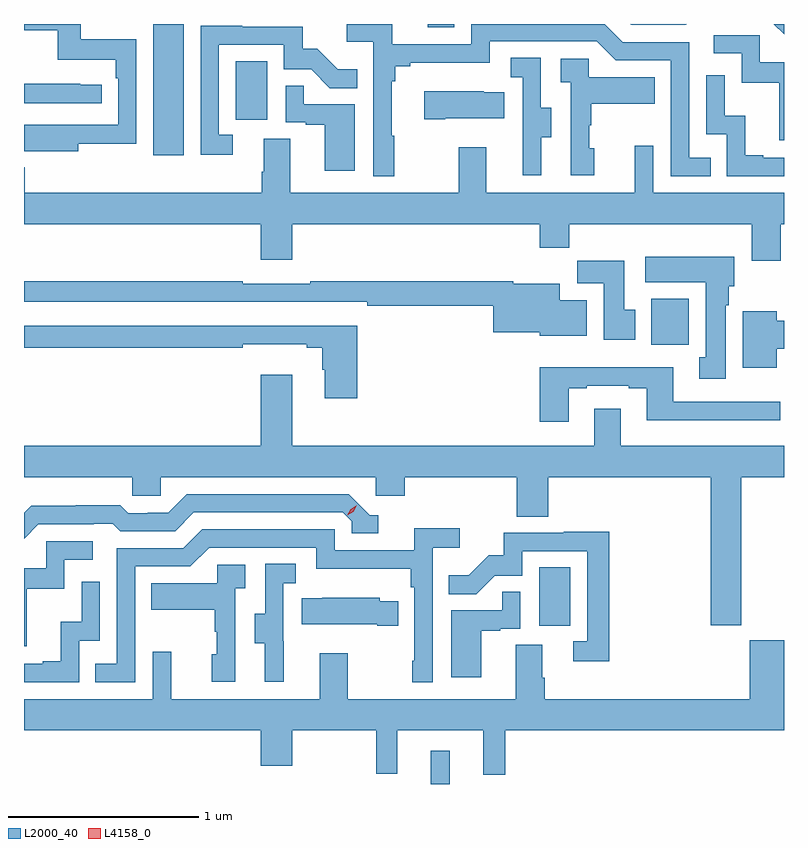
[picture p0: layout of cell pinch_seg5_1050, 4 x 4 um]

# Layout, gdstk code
import gdstk
lib = gdstk.Library(unit=1e-6, precision=1e-09)
def R(c, l, rs):  # rectangles x0, y0, x1, y1
    for r in rs: c.add(gdstk.rectangle(r[:2], r[2:], *l))
def P(c, l, *ps):  # polygons
    for p in ps: c.add(gdstk.Polygon(p, *l))
L2000_40 = (2000, 40)
L4158_0 = (4158, 0)

pinch_seg5_1050 = lib.new_cell('pinch_seg5_1050')
R(pinch_seg5_1050, L2000_40, [(837.23,864.469,837.329,864.643), (837.8,865.302,837.964,865.609), (838.391,866.78,838.588,867.022), (835.769,867.777,835.93,868.469), (836.204,867.966,836.368,868.273), (837.215,868.452,837.354,868.469)])
P(pinch_seg5_1050, L2000_40, [(835.375,867.838),(835.68,867.838),(835.68,868.39),(835.387,868.39),(835.387,868.469),(835.089,868.469),(835.089,868.435),(835.266,868.435),(835.266,868.28),(835.571,868.28),(835.571,868.184),(835.584,868.184),(835.584,867.939),(835.271,867.939),(835.271,867.94),(835.089,867.94),(835.089,867.8),(835.375,867.8)],
  [(839.089,868.469),(839.035,868.469),(839.089,868.415)],
  [(838.578,868.469),(838.279,868.469),(838.284,868.464),(838.573,868.464)],
  [(837.037,867.881),(837.025,867.881),(837.025,868.169),(837.044,868.169),(837.044,868.246),(837.121,868.246),(837.121,868.265),(837.54,868.265),(837.54,868.377),(838.104,868.377),(838.203,868.278),(838.494,868.278),(838.494,867.669),(838.703,867.669),(838.703,867.765),(838.59,867.765),(838.59,868.374),(838.24,868.374),(838.145,868.469),(837.444,868.469),(837.444,868.362),(837.026,868.362),(837.026,868.469),(836.787,868.469),(836.787,868.376),(836.928,868.376),(836.928,867.669),(837.037,867.669)],
  [(836.188,867.885),(836.115,867.885),(836.115,868.359),(836.457,868.359),(836.457,868.23),(836.601,868.23),(836.699,868.132),(836.843,868.132),(836.843,868.231),(836.739,868.231),(836.632,868.338),(836.556,868.338),(836.556,868.455),(836.237,868.455),(836.237,868.46),(836.019,868.46),(836.019,867.78),(836.188,867.78)],
  [(839.089,868.269),(838.962,868.269),(838.962,868.41),(838.719,868.41),(838.719,868.314),(838.866,868.314),(838.866,868.161),(839.065,868.161),(839.065,867.858),(839.089,867.858)],
  [(837.811,867.874),(837.865,867.874),(837.865,868.029),(837.81,868.029),(837.81,868.292),(837.651,868.292),(837.651,868.189),(837.714,868.189),(837.714,867.885),(837.713,867.885),(837.713,867.672),(837.811,867.672)],
  [(838.09,867.816),(838.065,867.816),(838.065,867.935),(838.075,867.935),(838.075,868.049),(838.409,868.049),(838.409,868.189),(838.062,868.189),(838.062,868.287),(837.915,868.287),(837.915,868.163),(837.966,868.163),(837.966,867.672),(838.09,867.672)],
  [(839.089,867.765),(838.981,867.765),(838.981,867.778),(838.886,867.778),(838.886,867.986),(838.776,867.986),(838.776,868.198),(838.68,868.198),(838.68,867.888),(838.788,867.888),(838.788,867.669),(839.089,867.669)],
  [(835.498,868.149),(835.385,868.149),(835.385,868.154),(835.089,868.154),(835.089,868.053),(835.498,868.053)],
  [(836.83,868.047),(836.561,868.047),(836.561,868.145),(836.466,868.145),(836.466,867.951),(836.573,867.951),(836.573,867.939),(836.672,867.939),(836.672,867.696),(836.83,867.696)],
  [(837.307,867.974),(837.617,867.974),(837.617,868.111),(837.509,868.111),(837.509,868.114),(837.195,868.114),(837.195,867.967),(837.307,867.967)],
  [(839.072,867.416),(839.089,867.416),(839.089,867.58),(838.401,867.58),(838.401,867.829),(838.304,867.829),(838.304,867.58),(837.523,867.58),(837.523,867.82),(837.376,867.82),(837.376,867.58),(836.491,867.58),(836.491,867.866),(836.351,867.866),(836.351,867.692),(836.339,867.692),(836.339,867.58),(835.094,867.58),(835.094,867.715),(835.089,867.715),(835.089,867.416),(836.336,867.416),(836.336,867.228),(836.5,867.228),(836.5,867.416),(837.803,867.416),(837.803,867.292),(837.959,867.292),(837.959,867.416),(838.919,867.416),(838.919,867.222),(839.072,867.222)],
  [(838.783,866.99),(838.798,866.99),(838.798,867.09),(838.828,867.09),(838.828,867.244),(838.359,867.244),(838.359,867.11),(838.676,867.11),(838.676,866.714),(838.643,866.714),(838.643,866.601),(838.783,866.601)],
  [(838.306,866.964),(838.249,866.964),(838.249,867.223),(838,867.223),(838,867.104),(838.139,867.104),(838.139,866.808),(838.306,866.808)],
  [(838.051,867.016),(837.91,867.016),(837.91,867.103),(837.664,867.103),(837.664,867.115),(836.596,867.115),(836.596,867.102),(836.24,867.102),(836.24,867.115),(835.089,867.115),(835.089,867.006),(836.896,867.006),(836.896,866.986),(837.56,866.986),(837.56,866.846),(837.804,866.846),(837.804,866.828),(838.051,866.828)],
  [(839.05,866.759),(839.089,866.759),(839.089,866.906),(839.05,866.906),(839.05,866.956),(838.871,866.956),(838.871,866.66),(839.05,866.66)],
  [(836.843,866.88),(835.089,866.88),(835.089,866.764),(836.24,866.764),(836.24,866.783),(836.576,866.783),(836.576,866.764),(836.66,866.764),(836.66,866.649),(836.672,866.649),(836.672,866.499),(836.843,866.499)],
  [(837.955,866.553),(838.051,866.553),(838.051,866.565),(838.271,866.565),(838.271,866.553),(838.367,866.553),(838.367,866.384),(839.068,866.384),(839.068,866.481),(838.507,866.481),(838.507,866.662),(837.803,866.662),(837.803,866.376),(837.955,866.376)],
  [(838.863,866.084),(839.089,866.084),(839.089,866.248),(838.231,866.248),(838.231,866.443),(838.091,866.443),(838.091,866.248),(836.5,866.248),(836.5,866.623),(836.336,866.623),(836.336,866.248),(835.089,866.248),(835.089,866.084),(835.659,866.084),(835.659,865.986),(835.809,865.986),(835.809,866.084),(836.94,866.084),(836.94,865.986),(837.092,865.986),(837.092,866.084),(837.683,866.084),(837.683,865.876),(837.848,865.876),(837.848,866.084),(838.703,866.084),(838.703,865.305),(838.863,865.305)],
  [(835.164,865.836),(835.457,865.836),(835.457,865.839),(835.556,865.839),(835.595,865.8),(835.884,865.8),(835.983,865.899),(836.766,865.899),(836.814,865.851),(836.814,865.788),(836.953,865.788),(836.953,865.884),(836.91,865.884),(836.799,865.995),(835.946,865.995),(835.847,865.896),(835.74,865.896),(835.74,865.893),(835.637,865.893),(835.595,865.936),(835.362,865.936),(835.362,865.933),(835.126,865.933),(835.089,865.896),(835.089,865.761)],
  [(835.674,865.614),(835.965,865.614),(836.064,865.713),(836.628,865.713),(836.628,865.601),(837.124,865.601),(837.124,865.505),(837.144,865.505),(837.144,865.117),(837.132,865.117),(837.132,865.005),(837.24,865.005),(837.24,865.712),(837.382,865.712),(837.382,865.814),(837.143,865.814),(837.143,865.698),(836.724,865.698),(836.724,865.809),(836.027,865.809),(835.928,865.71),(835.578,865.71),(835.578,865.101),(835.465,865.101),(835.465,865.005),(835.674,865.005)],
  [(838.169,865.796),(837.931,865.796),(837.931,865.791),(837.613,865.791),(837.613,865.674),(837.536,865.674),(837.429,865.567),(837.325,865.567),(837.325,865.468),(837.469,865.468),(837.567,865.566),(837.711,865.566),(837.711,865.695),(838.053,865.695),(838.053,865.221),(837.981,865.221),(837.981,865.116),(838.169,865.116)],
  [(835.103,865.497),(835.302,865.497),(835.302,865.65),(835.45,865.65),(835.45,865.746),(835.206,865.746),(835.206,865.605),(835.089,865.605),(835.089,865.194),(835.103,865.194)],
  [(836.456,865.221),(836.454,865.221),(836.454,865.525),(836.518,865.525),(836.518,865.628),(836.358,865.628),(836.358,865.365),(836.303,865.365),(836.303,865.21),(836.357,865.21),(836.357,865.008),(836.456,865.008)],
  [(836.202,865.499),(836.254,865.499),(836.254,865.623),(836.106,865.623),(836.106,865.525),(835.759,865.525),(835.759,865.385),(836.094,865.385),(836.094,865.271),(836.104,865.271),(836.104,865.152),(836.078,865.152),(836.078,865.008),(836.202,865.008)],
  [(835.38,865.224),(835.488,865.224),(835.488,865.534),(835.392,865.534),(835.392,865.322),(835.283,865.322),(835.283,865.114),(835.187,865.114),(835.187,865.101),(835.089,865.101),(835.089,865.005),(835.38,865.005)],
  [(837.496,865.275),(837.596,865.275),(837.596,865.287),(837.702,865.287),(837.702,865.481),(837.607,865.481),(837.607,865.383),(837.338,865.383),(837.338,865.032),(837.496,865.032)],
  [(837.059,865.432),(836.961,865.432),(836.961,865.45),(836.659,865.45),(836.659,865.447),(836.551,865.447),(836.551,865.31),(836.948,865.31),(836.948,865.303),(837.059,865.303)],
  [(836.336,864.564),(836.5,864.564),(836.5,864.752),(836.943,864.752),(836.943,864.524),(837.053,864.524),(837.053,864.752),(837.506,864.752),(837.506,864.519),(837.623,864.519),(837.623,864.752),(839.089,864.752),(839.089,865.225),(838.91,865.225),(838.91,864.916),(837.83,864.916),(837.83,865.028),(837.817,865.028),(837.817,865.202),(837.677,865.202),(837.677,864.916),(836.793,864.916),(836.793,865.156),(836.645,865.156),(836.645,864.916),(835.865,864.916),(835.865,865.165),(835.767,865.165),(835.767,864.916),(835.089,864.916),(835.089,864.752),(836.336,864.752)])
P(pinch_seg5_1050, L4158_0, [(836.791,865.884),(836.791,865.884),(836.808,865.916),(836.839,865.936),(836.839,865.936),(836.839,865.936),(836.822,865.903),(836.791,865.884)])

lib.write_gds('pinch_seg5_1050.gds')
